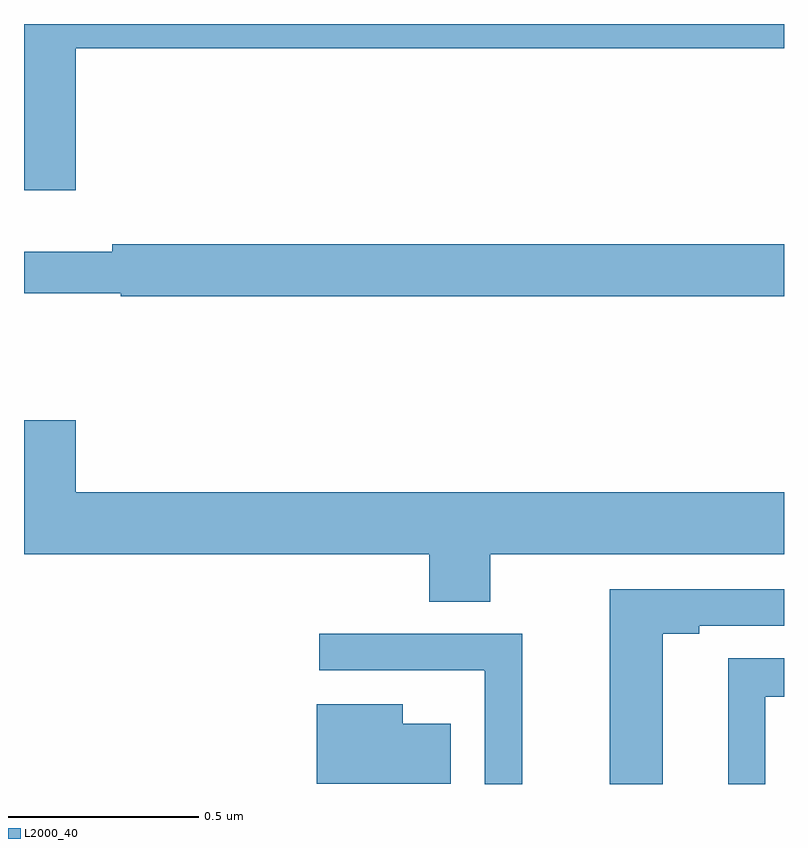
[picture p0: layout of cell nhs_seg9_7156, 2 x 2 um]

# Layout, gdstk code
import gdstk
lib = gdstk.Library(unit=1e-6, precision=1e-09)
def P(c, l, *ps):  # polygons
    for p in ps: c.add(gdstk.Polygon(p, *l))
L2000_40 = (2000, 40)

nhs_seg9_7156 = lib.new_cell('nhs_seg9_7156')
P(nhs_seg9_7156, L2000_40, [(201,1180.062),(201.136,1180.062),(201.136,1180.436),(203,1180.436),(203,1180.5),(201,1180.5)],
  [(203,1179.92),(201.232,1179.92),(201.232,1179.901),(201,1179.901),(201,1179.792),(201.255,1179.792),(201.255,1179.784),(203,1179.784)],
  [(202.227,1179.104),(203,1179.104),(203,1179.268),(201.136,1179.268),(201.136,1179.457),(201,1179.457),(201,1179.104),(202.067,1179.104),(202.067,1178.98),(202.227,1178.98)],
  [(202.681,1178.896),(202.777,1178.896),(202.777,1178.916),(203,1178.916),(203,1179.012),(202.541,1179.012),(202.541,1178.5),(202.681,1178.5)],
  [(202.311,1178.895),(201.777,1178.895),(201.777,1178.799),(202.211,1178.799),(202.211,1178.798),(202.212,1178.798),(202.212,1178.5),(202.311,1178.5)],
  [(202.95,1178.73),(203,1178.73),(203,1178.831),(202.853,1178.831),(202.853,1178.5),(202.95,1178.5)],
  [(202.123,1178.659),(201.997,1178.659),(201.997,1178.71),(201.77,1178.71),(201.77,1178.501),(202.123,1178.501)])

lib.write_gds('nhs_seg9_7156.gds')
